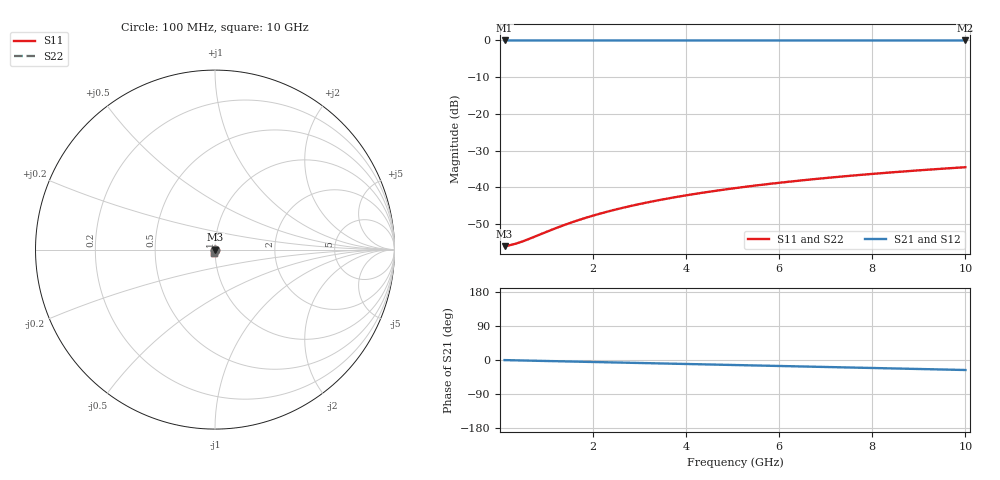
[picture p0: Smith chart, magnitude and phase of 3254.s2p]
# Hz S RI R 50.00
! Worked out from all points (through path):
!   100 points, 100 MHz to 10 GHz, reference 50 ohm
!   highest |S21| = -0.01 dB at 100 MHz (marker M1); lowest = 0.0 dB at 10 GHz (marker M2)
!   group delay of S21, straight-line fit = 7.33 ps
!   lowest |S11| = -56.0 dB at 100 MHz (marker M3), VSWR 1.00, Z = 50.2 - j0.0197 ohm
!   |S11| at or under -10 dB: start of sweep to end of sweep
!   |S22| runs from -56.0 to -34.5 dB; largest |S21 - S12| = 0
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1e8  0.00157 -0.000196  0.9984 -0.00457  0.9984 -0.00457  0.00157 -0.000196
2e8  0.00157 -0.000392  0.9984 -0.00914  0.9984 -0.00914  0.00157 -0.000392
3e8  0.00158 -0.000589  0.9983 -0.0137  0.9983 -0.0137  0.00158 -0.000589
5e8  0.00157 -0.000981  0.9981 -0.0228  0.9981 -0.0228  0.00157 -0.000981
1.1e9  0.00149 -0.00216  0.9971 -0.0502  0.9971 -0.0502  0.00149 -0.00216
1.3e9  0.00145 -0.00255  0.9966 -0.0594  0.9966 -0.0594  0.00145 -0.00255
1.5e9  0.0014 -0.00294  0.996 -0.0685  0.996 -0.0685  0.0014 -0.00294
1.8e9  0.00132 -0.00353  0.9949 -0.0822  0.9949 -0.0822  0.00132 -0.00353
2.1e9  0.00121 -0.00412  0.9937 -0.0958  0.9937 -0.0958  0.00121 -0.00412
2.5e9  0.00105 -0.0049  0.9917 -0.1141  0.9917 -0.1141  0.00105 -0.0049
2.9e9  0.000858 -0.00567  0.9894 -0.1322  0.9894 -0.1322  0.000858 -0.00567
3.4e9  0.000577 -0.00664  0.9861 -0.1549  0.9861 -0.1549  0.000577 -0.00664
3.8e9  0.00032 -0.0074  0.9831 -0.173  0.9831 -0.173  0.00032 -0.0074
4.2e9  3.52e-05 -0.00815  0.9797 -0.191  0.9797 -0.191  3.52e-05 -0.00815
4.6e9  -0.000278 -0.0089  0.976 -0.209  0.976 -0.209  -0.000278 -0.0089
5.1e9  -0.000707 -0.00981  0.9709 -0.2314  0.9709 -0.2314  -0.000707 -0.00981
5.9e9  -0.00148 -0.0112  0.9617 -0.267  0.9617 -0.267  -0.00148 -0.0112
6.7e9  -0.00236 -0.0126  0.9511 -0.3023  0.9511 -0.3023  -0.00236 -0.0126
7.5e9  -0.00334 -0.0139  0.9392 -0.3373  0.9392 -0.3373  -0.00334 -0.0139
8.4e9  -0.00454 -0.0153  0.9243 -0.3761  0.9243 -0.3761  -0.00454 -0.0153
9.2e9  -0.00571 -0.0164  0.9097 -0.4101  0.9097 -0.4101  -0.00571 -0.0164
1e10  -0.00695 -0.0174  0.8937 -0.4436  0.8937 -0.4436  -0.00695 -0.0174
